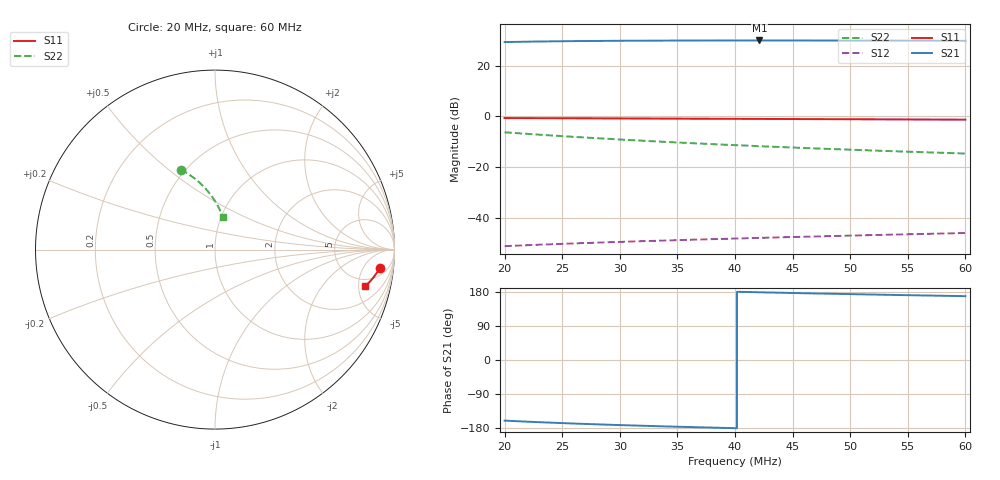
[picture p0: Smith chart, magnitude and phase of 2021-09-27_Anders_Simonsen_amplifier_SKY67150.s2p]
! Created Mon Sep 27 10:55:23 2021
# hz S ma R 50
! 2 Port Network Data from SP1.SP block
! freq  magS11  angS11  magS21  angS21  magS12  angS12  magS22  angS22
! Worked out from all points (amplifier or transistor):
!   8001 points, 20 MHz to 60 MHz, reference 50 ohm
!   highest |S21| = 29.9 dB at 42.12 MHz (marker M1)
!   |S21| within 3 dB of that: start of sweep to end of sweep
!   unconditionally stable (mu >= 1): start of sweep to end of sweep
!   at 26.66 MHz: K = 1.07, MAG = 38.2 dB, |S12| = -49.9 dB
!   at 40 MHz: K = 1.03, MAG = 37.9 dB, |S12| = -48.1 dB
!   at 60 MHz: K = 1.03, MAG = 36.8 dB, |S12| = -45.9 dB
!   lowest NFmin = 0.10 dB at 52.05 MHz
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2e7  0.9269 -6.4  29.09 -160.0  0.002775 55.2  0.4853 113.2
2.0185e7  0.9265 -6.4  29.14 -160.3  0.002788 55.1  0.482 112.8
2.095e7  0.9251 -6.6  29.36 -161.4  0.002838 54.9  0.4686 111.6
2.173e7  0.9237 -6.7  29.56 -162.5  0.002887 54.7  0.4557 110.3
2.323e7  0.921 -7.0  29.9 -164.4  0.00298 54.4  0.4325 108.0
2.49e7  0.9182 -7.3  30.21 -166.4  0.003081 54.2  0.4091 105.7
2.667e7  0.9153 -7.6  30.47 -168.4  0.003184 54.0  0.3866 103.4
2.821e7  0.9129 -7.9  30.66 -170.0  0.003272 54.0  0.3689 101.5
2.983e7  0.9104 -8.2  30.82 -171.6  0.003363 54.0  0.3517 99.7
3.1535e7  0.9078 -8.6  30.96 -173.2  0.003458 54.1  0.3352 97.9
3.3335e7  0.905 -8.9  31.07 -174.7  0.003557 54.2  0.3193 96.0
3.4895e7  0.9026 -9.2  31.14 -176.0  0.003643 54.4  0.3066 94.5
3.652e7  0.9002 -9.5  31.2 -177.3  0.003733 54.5  0.2943 93.0
3.822e7  0.8975 -9.8  31.24 -178.6  0.003826 54.7  0.2825 91.5
4e7  0.8948 -10.1  31.27 -179.9  0.003924 54.9  0.271 90.0
4.2125e7  0.8915 -10.5  31.28 178.7  0.004042 55.1  0.2584 88.3
4.437e7  0.8879 -10.9  31.27 177.2  0.004166 55.4  0.2463 86.6
4.667e7  0.8842 -11.4  31.24 175.8  0.004294 55.7  0.235 84.9
4.995e7  0.8788 -11.9  31.17 173.8  0.004478 56.0  0.2205 82.7
5.3335e7  0.8731 -12.5  31.06 171.9  0.004668 56.4  0.2073 80.5
5.6975e7  0.8667 -13.2  30.93 170.0  0.004874 56.7  0.1948 78.2
6e7  0.8613 -13.7  30.79 168.5  0.005046 56.9  0.1854 76.4
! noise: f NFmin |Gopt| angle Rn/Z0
2e+07  0.1052  0.2168  6.561  0.01865
2.444e+07  0.1044  0.2124  6.847  0.01833
2.888e+07  0.1039  0.2091  7.119  0.0181
3.333e+07  0.1035  0.2067  7.396  0.01794
3.778e+07  0.1032  0.205  7.688  0.01782
4.222e+07  0.1031  0.2037  7.998  0.01774
4.666e+07  0.103  0.2027  8.327  0.01768
5.111e+07  0.103  0.202  8.674  0.01764
5.556e+07  0.103  0.2014  9.035  0.01761
6e+07  0.103  0.201  9.41  0.01759
